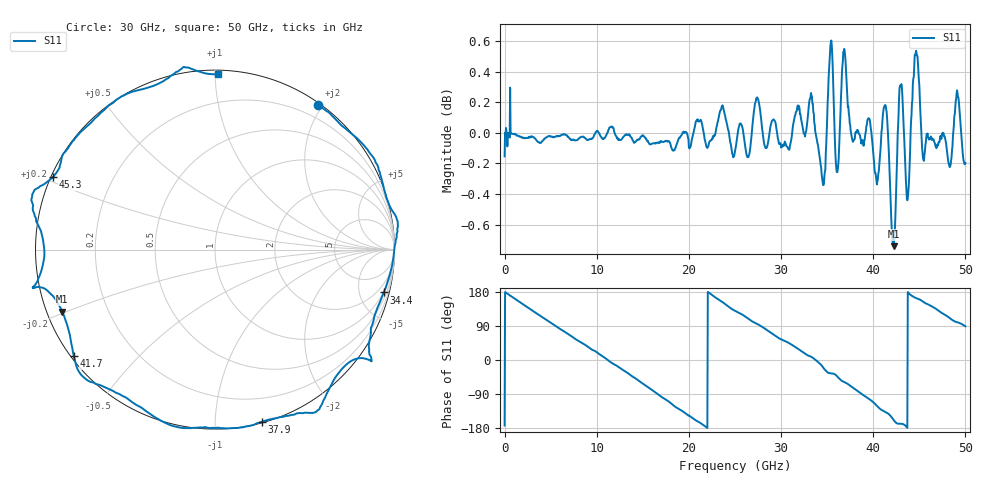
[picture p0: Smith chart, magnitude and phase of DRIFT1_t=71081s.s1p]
!Created with skrf (http://scikit-rf.org).
# Hz S RI R 50.0
!freq ReS11 ImS11
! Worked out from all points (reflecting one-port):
!   1001 points, 300 kHz to 50 GHz, reference 50 ohm
!   lowest |S11| = -0.7 dB at 42.2 GHz (marker M1), VSWR 23.47, Z = 2.21 - j9.77 ohm
!   phase of S11 starts at -173 deg and turns -818 deg over the sweep
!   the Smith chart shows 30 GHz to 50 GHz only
!   S11 on the Smith chart (normalised r, x): 30 GHz: 0.03, +1.94; 34.4 GHz: 0.99, -7.87; 37.9 GHz: 0.01, -1.31; 41.7 GHz: 0.01, -0.33; 45.3 GHz: 0.01, +0.21; 50 GHz: 0.02, +1.02
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300000  -0.975 -0.1206
1.450291e9  -0.9125 0.4039
3.25028e9  -0.5931 0.8002
6.250262e9  0.1986 0.9787
9.500243e9  0.8877 0.4512
1.250022e10  0.9304 -0.3514
1.580021e10  0.2427 -0.9612
1.73502e10  -0.2108 -0.9709
1.875019e10  -0.5983 -0.7926
2.160017e10  -0.9908 -0.137
2.345016e10  -0.93 0.4119
2.500015e10  -0.628 0.7611
2.745014e10  -0.0843 1.023
3.000012e10  0.5746 0.8049
3.125011e10  0.7822 0.6279
3.32001e10  1.014 0.1653
3.440009e10  0.9395 -0.2388
3.520009e10  0.8655 -0.5909
3.750008e10  0.3787 -0.9319
3.790007e10  0.2604 -0.9597
3.960006e10  -0.2377 -0.982
4.170005e10  -0.7869 -0.5916
4.220005e10  -0.8505 -0.3462
4.290004e10  -1.014 -0.2143
4.375004e10  -0.952 0.00967
4.530003e10  -0.9022 0.4052
4.765001e10  -0.5145 0.8561
5e10  0.0184 0.9773
